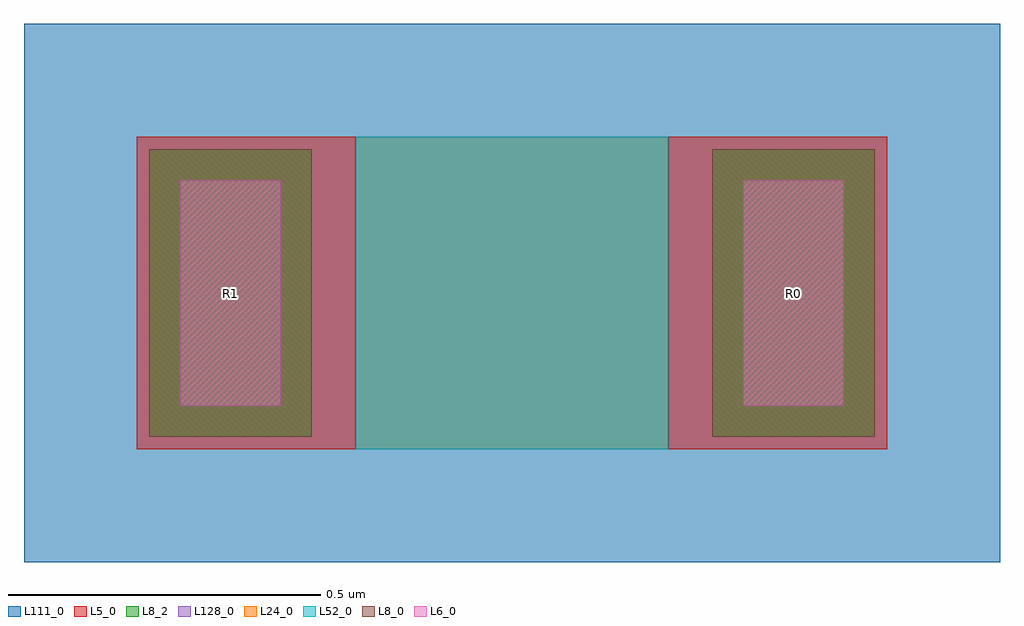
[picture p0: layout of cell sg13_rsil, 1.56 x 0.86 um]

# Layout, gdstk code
from math import pi, radians
import gdstk
lib = gdstk.Library(unit=1e-6, precision=5e-09)
def R(c, l, rs):  # rectangles x0, y0, x1, y1
    for r in rs: c.add(gdstk.rectangle(r[:2], r[2:], *l))
L5_0 = (5, 0)
L6_0 = (6, 0)
L8_0 = (8, 0)
L8_2 = (8, 2)
L24_0 = (24, 0)
L52_0 = (52, 0)
L111_0 = (111, 0)
L128_0 = (128, 0)

rsil = lib.new_cell('rsil')
R(rsil, L5_0, [(0,-0.35,0.5,0), (0,0.5,0.5,0.85)])
R(rsil, L6_0, [(0.07,-0.28,0.43,-0.12), (0.07,0.62,0.43,0.78)])
R(rsil, L8_0, [(0.02,-0.33,0.48,-0.07), (0.02,0.57,0.48,0.83)])
R(rsil, L8_2, [(0.02,-0.33,0.48,-0.07), (0.02,0.57,0.48,0.83)])
R(rsil, L24_0, [(0,0,0.5,0.5)])
R(rsil, L52_0, [(0,0,0.5,0.5)])
R(rsil, L111_0, [(-0.18,-0.53,0.68,0), (-0.18,0,0.68,0.5), (-0.18,0,0.68,1.03)])
R(rsil, L128_0, [(0,0,0.5,0.5)])
rsil.add(gdstk.Label('rsil', (0.25,0.25), layer=52, texttype=0))
rsil.add(gdstk.Label('rsil r=24.9', (0.25,0.25), layer=63, texttype=0))

sg13_rsil = lib.new_cell('sg13_rsil')
R(sg13_rsil, L8_2, [(0.265,0.365,0.395,0.495), (1.165,0.365,1.295,0.495)])
sg13_rsil.add(gdstk.Reference(rsil, (0.53,0.68), rotation=3*pi/2))
sg13_rsil.add(gdstk.Label('R1', (0.33,0.43), layer=8, texttype=25))
sg13_rsil.add(gdstk.Label('R0', (1.23,0.43), layer=8, texttype=25))

lib.write_gds('sg13_rsil.gds')
